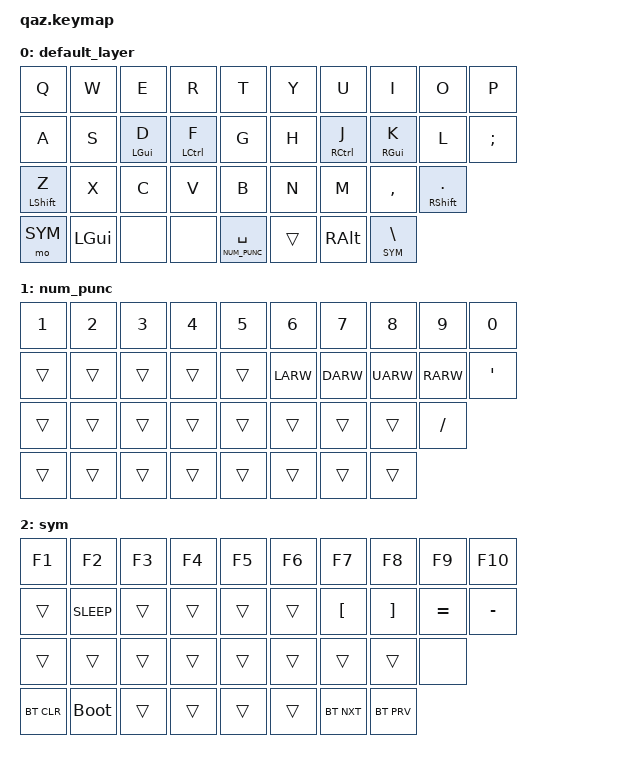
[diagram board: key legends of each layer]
/*
 * Copyright (c) 2020 The ZMK Contributors
 *
 * SPDX-License-Identifier: MIT
 */

#include <behaviors.dtsi>
#include <dt-bindings/zmk/keys.h>
#include <dt-bindings/zmk/bt.h>

#define DEFAULT  0
#define NUM_PUNC 1
#define SYM      2

/ {
    behaviors {
        hm: homerow_mods {
            compatible = "zmk,behavior-hold-tap";
            label = "homerow mods";
            #binding-cells = <2>;
            tapping_term_ms = <200>;
            flavor = "tap-preferred";
            bindings = <&kp>, <&kp>;
        };

        sm: shift_mods {
            compatible = "zmk,behavior-hold-tap";
            label = "shift mods";
            #binding-cells = <2>;
            tapping_term_ms = <150>;
            flavor = "tap-preferred";
            bindings = <&kp>, <&kp>;
        };
    };

    combos {
        compatible = "zmk,combos";
        combo_esc {
            timeout-ms = <40>;
            key-positions = <0 1>;
            bindings = <&kp ESC>;
            layers = <0 2>;
        };
        combo_grave {
            timeout-ms = <40>;
            key-positions = <0 1>;
            bindings = <&kp GRAVE>;
            layers = <1>;
        };
        combo_backspace {
            timeout-ms = <40>;
            key-positions = <8 9>;
            bindings = <&kp BKSP>;
        };
        combo_tab {
            timeout-ms = <40>;
            key-positions = <10 11>;
            bindings = <&kp TAB>;
        };
        combo_enter {
            timeout-ms = <40>;
            key-positions = <18 19>;
            bindings = <&kp RET>;
        };
    };
};
/ {
    keymap {
        compatible = "zmk,keymap";

        default_layer {
            bindings = <
    &kp Q         &kp W       &kp E       &kp R        &kp T             &kp Y     &kp U      &kp I       &kp O         &kp P
    &kp A         &kp S       &hm LGUI D  &hm LCTL F   &kp G             &kp H     &hm RCTL J &hm RGUI K  &kp L         &kp SEMI
    &sm LSHFT Z   &kp X       &kp C       &kp V        &kp B             &kp N     &kp M      &kp CMMA    &sm RSHFT DOT
    &mo SYM       &kp LGUI    &none       &none        &lt NUM_PUNC SPC  &trans    &kp RALT   &lt SYM BSLH
            >;
        };
        num_punc {
            bindings = <
    &kp N1    &kp N2     &kp N3     &kp N4     &kp N5   &kp N6     &kp N7     &kp N8       &kp N9     &kp N0
    &trans    &trans     &trans     &trans     &trans   &kp LARW   &kp DARW   &kp UARW     &kp RARW   &kp QUOT
    &trans    &trans     &trans     &trans     &trans   &trans     &trans     &trans       &kp FSLH
    &trans    &trans     &trans     &trans     &trans   &trans     &trans     &trans
            >;
        };
        sym {
            bindings = <
    &kp F1      &kp F2      &kp F3     &kp F4     &kp F5     &kp F6     &kp F7      &kp F8      &kp F9    &kp F10
    &trans      &kp K_SLEEP &trans     &trans     &trans     &trans     &kp LBKT    &kp RBKT    &kp EQUAL &kp MINUS
    &trans      &trans      &trans     &trans     &trans     &trans     &trans      &trans      &none
    &bt BT_CLR  &bootloader &trans     &trans     &trans     &trans     &bt BT_NXT  &bt BT_PRV
            >;
        };
    };
};
